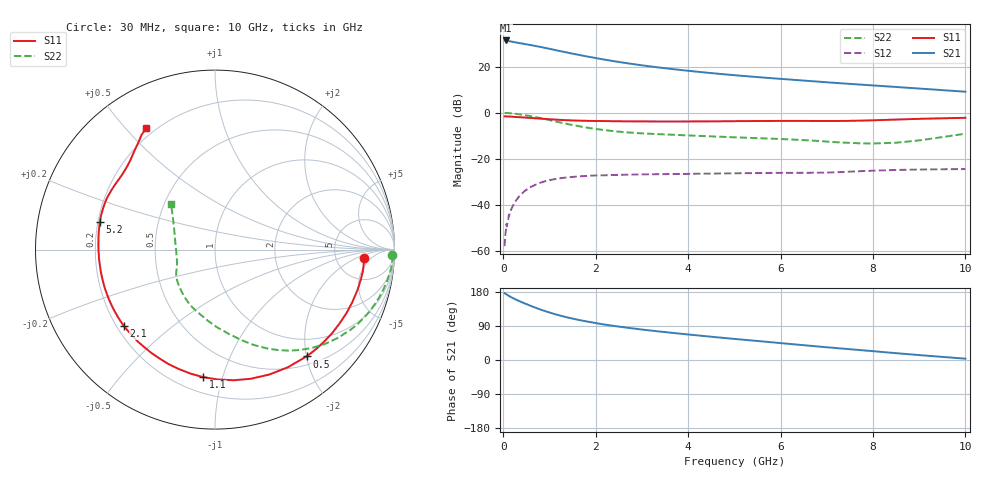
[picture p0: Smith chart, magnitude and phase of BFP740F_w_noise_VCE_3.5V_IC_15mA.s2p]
! Infineon Technologies  Discrete & RF Semiconductors
! BFP740F
! VCE =  3.5 V,  IC =  15 mA
! Common Emitter S-Parameters:  Oct 2012
# GHz  S  MA  R  50
!  f  S11  S21  S12  S22
! GHz  MAG  ANG  MAG  ANG  MAG  ANG  MAG  ANG
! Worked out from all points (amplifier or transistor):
!   99 points, 30 MHz to 10 GHz, reference 50 ohm
!   highest |S21| = 31.3 dB at 50 MHz (marker M1)
!   |S21| within 3 dB of that: start of sweep to 854.2 MHz
!   unconditionally stable (mu >= 1): 6.229 GHz to end of sweep
!   at 350 MHz: K = 0.12, MSG = 33.1 dB, |S12| = -36.1 dB
!   at 3.5 GHz: K = 0.60, MSG = 22.9 dB, |S12| = -26.6 dB
!   at 10 GHz: K = 1.23, MAG = 13.8 dB, |S12| = -24.4 dB
!   lowest NFmin = 0.53 dB at 450 MHz
!   S11 on the Smith chart (normalised r, x): 30 MHz: 10, -3; 500 MHz: 0.65, -2.00; 1.1 GHz: 0.30, -0.87; 2.1 GHz: 0.23, -0.35; 5.2 GHz: 0.21, +0.11; 10 GHz: 0.17, +0.57
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0.03  0.8339 -3.1  36.51 176.3  0.0013 90.1  0.9874 -1.8
0.05  0.8324 -5.2  36.64 174.9  0.0025 98.4  0.99 -3.2
0.09  0.8307 -9.6  36.05 171.6  0.0042 82.6  0.9871 -6.0
0.15  0.825 -15.9  35.03 167.2  0.0072 77.4  0.9753 -10.1
0.25  0.8135 -25.9  33.51 160.9  0.0116 75.7  0.9525 -16.3
0.4  0.7952 -40.4  31.54 152.6  0.0177 68.8  0.9094 -25.1
0.5  0.7837 -49.4  30.26 147.6  0.0215 64.8  0.8775 -30.6
0.6  0.7711 -58.2  29.03 142.6  0.0249 60.2  0.8425 -35.8
0.8  0.7467 -74.6  26.62 133.4  0.0306 52.5  0.7687 -45.5
0.9  0.7353 -81.8  25.37 129.3  0.0329 49.2  0.7307 -50.0
1.1  0.7135 -95.3  23.02 121.7  0.0364 43.3  0.6589 -58.1
1.4  0.6883 -112.1  19.89 112.1  0.04 36.4  0.569 -68.4
1.7  0.6714 -125.6  17.33 104.2  0.0424 31.5  0.4978 -77.3
2.1  0.6625 -140.0  14.64 95.3  0.0443 26.4  0.4328 -88.5
2.7  0.6523 -155.4  11.71 84.9  0.0456 22.0  0.3752 -101.3
3.4  0.648 -168.7  9.456 74.9  0.0469 18.8  0.3431 -112.3
4.2  0.6491 179.5  7.719 65.0  0.048 16.7  0.3172 -121.4
5.1  0.6589 167.6  6.369 54.6  0.0491 15.6  0.2919 -131.4
5.2  0.6597 166.4  6.252 53.5  0.0493 15.5  0.2894 -132.5
6.7  0.6644 148.5  4.797 36.9  0.0504 15.0  0.2495 -149.9
8.5  0.7126 128.8  3.611 18.0  0.0579 14.8  0.2248 169.6
10  0.7775 119.6  2.852 3.5  0.0605 11.0  0.3522 134.0
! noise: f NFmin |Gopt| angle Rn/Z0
0.45  0.53  0.1  7  0.57
0.9  0.59  0.1  17  0.24
1.5  0.65  0.1  30  0.04
1.9  0.7  0.1  43  0.03
2.4  0.74  0.1  60  0.03
3.5  0.85  0.09  78  0.13
5.5  1.03  0.07  170  0.18
10  1.4  0.38  -111  0.12
